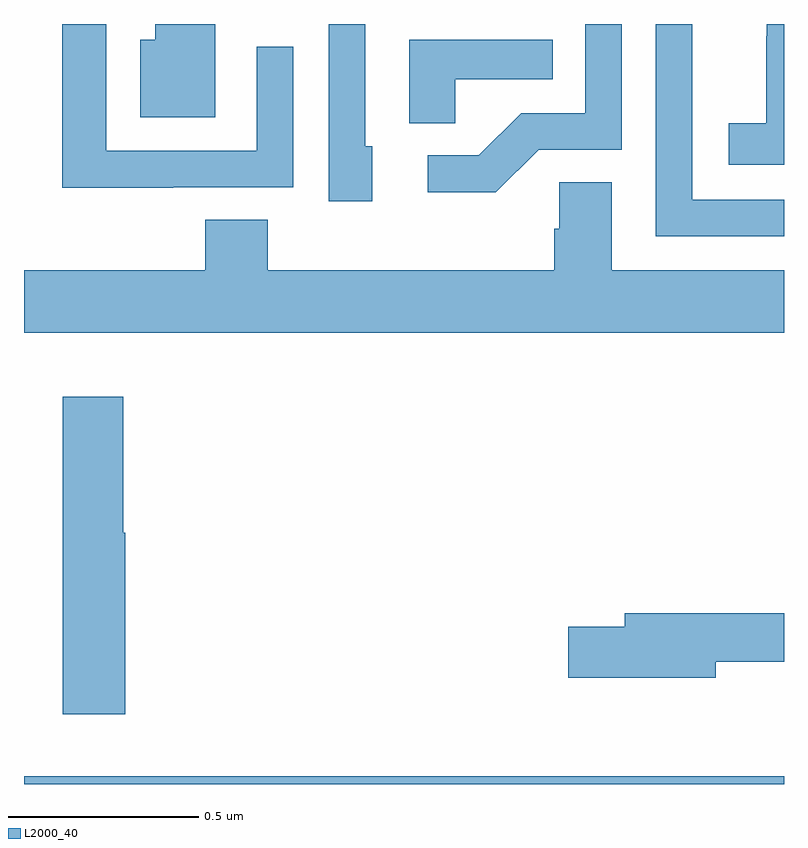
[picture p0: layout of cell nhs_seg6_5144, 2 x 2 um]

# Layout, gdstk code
import gdstk
lib = gdstk.Library(unit=1e-6, precision=1e-09)
def R(c, l, rs):  # rectangles x0, y0, x1, y1
    for r in rs: c.add(gdstk.rectangle(r[:2], r[2:], *l))
def P(c, l, *ps):  # polygons
    for p in ps: c.add(gdstk.Polygon(p, *l))
L2000_40 = (2000, 40)

nhs_seg6_5144 = lib.new_cell('nhs_seg6_5144')
R(nhs_seg6_5144, L2000_40, [(179,927.5,181,927.52)])
P(nhs_seg6_5144, L2000_40, [(179.917,929.178),(179.898,929.178),(179.898,929.5),(179.802,929.5),(179.802,929.034),(179.917,929.034)],
  [(181,929.037),(180.759,929.037),(180.759,929.5),(180.663,929.5),(180.663,928.941),(181,928.941)],
  [(181,929.5),(180.954,929.5),(180.954,929.468),(180.953,929.468),(180.953,929.239),(180.855,929.239),(180.855,929.129),(181,929.129)],
  [(179.393,929.07),(179.709,929.07),(179.709,929.44),(179.613,929.44),(179.613,929.166),(179.217,929.166),(179.217,929.5),(179.101,929.5),(179.101,929.069),(179.393,929.069)],
  [(180.354,929.169),(180.573,929.169),(180.573,929.5),(180.477,929.5),(180.477,929.265),(180.308,929.265),(180.197,929.154),(180.063,929.154),(180.063,929.057),(180.241,929.057)],
  [(179.503,929.5),(179.345,929.5),(179.345,929.458),(179.306,929.458),(179.306,929.255),(179.503,929.255)],
  [(180.135,929.354),(180.392,929.354),(180.392,929.458),(180.014,929.458),(180.014,929.239),(180.135,929.239)],
  [(181,928.852),(180.547,928.852),(180.547,929.084),(180.408,929.084),(180.408,928.961),(180.395,928.961),(180.395,928.852),(179.642,928.852),(179.642,928.985),(179.477,928.985),(179.477,928.852),(179,928.852),(179,928.688),(181,928.688)],
  [(179.266,928.161),(179.261,928.161),(179.261,928.519),(179.102,928.519),(179.102,927.684),(179.266,927.684)],
  [(180.82,927.822),(181,927.822),(181,927.95),(180.581,927.95),(180.581,927.914),(180.432,927.914),(180.432,927.779),(180.82,927.779)])

lib.write_gds('nhs_seg6_5144.gds')
